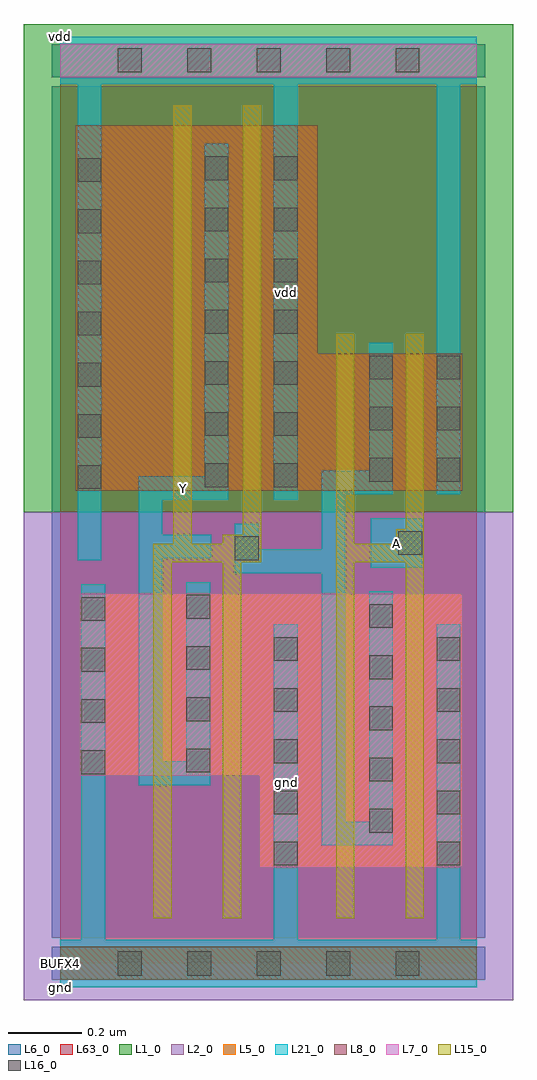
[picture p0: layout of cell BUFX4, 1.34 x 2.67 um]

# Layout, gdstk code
import gdstk
lib = gdstk.Library(unit=1e-6, precision=1e-09)
def R(c, l, rs):  # rectangles x0, y0, x1, y1
    for r in rs: c.add(gdstk.rectangle(r[:2], r[2:], *l))
def A(c, l, x, y, w, h, nx, ny, dx, dy):  # array of equal rectangles
    R(c, l, [(x+i*dx, y+j*dy, x+i*dx+w, y+j*dy+h) for i in range(nx) for j in range(ny)])
def P(c, l, *ps):  # polygons
    for p in ps: c.add(gdstk.Polygon(p, *l))
L1_0 = (1, 0)
L2_0 = (2, 0)
L5_0 = (5, 0)
L6_0 = (6, 0)
L7_0 = (7, 0)
L8_0 = (8, 0)
L15_0 = (15, 0)
L16_0 = (16, 0)
L21_0 = (21, 0)
L63_0 = (63, 0)

bufx4 = lib.new_cell('BUFX4')
R(bufx4, L1_0, [(-0.1,1.235,1.24,2.57)])
R(bufx4, L2_0, [(-0.1,-0.1,1.24,1.235)])
R(bufx4, L5_0, [(0,-0.045,1.14,0.045), (0.755,0.263,0.805,1.012), (0.805,0.263,0.945,1.012), (0.945,0.263,0.995,1.012), (0.995,0.263,1.1,1.012), (0.053,0.513,0.255,1.012), (0.255,0.513,0.305,1.012), (0.305,0.513,0.445,1.012), (0.445,0.513,0.495,1.012), (0.043,1.293,0.31,2.293), (0.31,1.293,0.36,2.293), (0.36,1.293,0.5,2.293), (0.5,1.293,0.55,2.293), (0.755,1.293,0.805,1.668), (0.805,1.293,0.945,1.668), (0.945,1.293,0.995,1.668), (0.995,1.293,1.1,1.668), (0,2.425,1.14,2.515)])
P(bufx4, L5_0, [(0.755,1.012),(0.755,0.263),(0.545,0.263),(0.545,0.513),(0.495,0.513),(0.495,1.012)],
  [(0.705,1.668),(0.755,1.668),(0.755,1.293),(0.55,1.293),(0.55,2.293),(0.705,2.293)])
R(bufx4, L6_0, [(-0.023,-0.045,1.163,0.045), (-0.023,-0.045,1.163,0.045), (-0.023,0.07,1.163,1.235), (-0.023,1.235,1.163,2.4), (-0.023,2.425,1.163,2.515), (-0.023,2.425,1.163,2.515)])
R(bufx4, L7_0, [(0.755,0.263,0.805,1.012), (0.805,0.263,0.945,1.012), (0.945,0.263,0.995,1.012), (0.995,0.263,1.1,1.012), (0.053,0.513,0.255,1.012), (0.255,0.513,0.305,1.012), (0.305,0.513,0.445,1.012), (0.445,0.513,0.495,1.012), (0,2.425,1.14,2.515)])
P(bufx4, L7_0, [(0.755,1.012),(0.755,0.263),(0.545,0.263),(0.545,0.513),(0.495,0.513),(0.495,1.012)])
R(bufx4, L8_0, [(0,-0.045,1.14,0.045), (0.043,1.293,0.31,2.293), (0.31,1.293,0.36,2.293), (0.36,1.293,0.5,2.293), (0.5,1.293,0.55,2.293), (0.755,1.293,0.805,1.668), (0.805,1.293,0.945,1.668), (0.945,1.293,0.995,1.668), (0.995,1.293,1.1,1.668)])
P(bufx4, L8_0, [(0.705,1.668),(0.755,1.668),(0.755,1.293),(0.55,1.293),(0.55,2.293),(0.705,2.293)])
R(bufx4, L15_0, [(0.255,0.123,0.305,0.513), (0.445,0.123,0.495,0.513), (0.755,0.123,0.805,0.263), (0.945,0.123,0.995,0.263), (0.755,0.263,0.805,1.012), (0.945,0.263,0.995,1.012), (0.255,0.513,0.305,1.012), (0.445,0.513,0.495,1.012), (0.31,1.293,0.36,2.293), (0.5,1.293,0.55,2.293), (0.755,1.293,0.805,1.668), (0.945,1.293,0.995,1.668), (0.755,1.668,0.805,1.723), (0.945,1.668,0.995,1.723), (0.31,2.293,0.36,2.348), (0.5,2.293,0.55,2.348)])
P(bufx4, L15_0, [(0.255,1.148),(0.31,1.148),(0.31,1.293),(0.36,1.293),(0.36,1.148),(0.445,1.148),(0.445,1.173),(0.5,1.173),(0.5,1.293),(0.55,1.293),(0.55,1.098),(0.495,1.098),(0.495,1.012),(0.445,1.012),(0.445,1.098),(0.305,1.098),(0.305,1.012),(0.255,1.012)],
  [(0.755,1.293),(0.805,1.293),(0.805,1.148),(0.92,1.148),(0.92,1.188),(0.945,1.188),(0.945,1.293),(0.995,1.293),(0.995,1.012),(0.945,1.012),(0.945,1.098),(0.805,1.098),(0.805,1.012),(0.755,1.012)])
A(bufx4, L16_0, 0.158, -0.033, 0.065, 0.066, 5, 1, 0.19, 0)
A(bufx4, L16_0, 0.585, 0.268, 0.065, 0.065, 1, 5, 0, 0.14)
A(bufx4, L16_0, 1.03, 0.268, 0.065, 0.065, 1, 5, 0, 0.14)
A(bufx4, L16_0, 0.845, 0.358, 0.065, 0.065, 1, 5, 0, 0.14)
A(bufx4, L16_0, 0.058, 0.518, 0.065, 0.065, 1, 3, 0, 0.14)
A(bufx4, L16_0, 0.345, 0.523, 0.065, 0.065, 1, 4, 0, 0.14)
A(bufx4, L16_0, 0.048, 1.298, 0.065, 0.065, 1, 7, 0, 0.14)
A(bufx4, L16_0, 0.395, 1.303, 0.065, 0.065, 1, 7, 0, 0.14)
A(bufx4, L16_0, 0.585, 1.303, 0.065, 0.065, 1, 7, 0, 0.14)
A(bufx4, L16_0, 0.845, 1.318, 0.065, 0.065, 1, 3, 0, 0.14)
A(bufx4, L16_0, 1.03, 1.318, 0.065, 0.065, 1, 3, 0, 0.14)
A(bufx4, L16_0, 0.158, 2.438, 0.065, 0.065, 5, 1, 0.19, 0)
R(bufx4, L16_0, [(0.058,0.938,0.123,1.002), (0.478,1.103,0.543,1.168), (0.925,1.118,0.99,1.183)])
R(bufx4, L21_0, [(0.85,1.083,0.99,1.218)])
P(bufx4, L21_0, [(0,2.405),(0,2.535),(1.14,2.535),(1.14,2.405),(1.095,2.405),(1.095,1.283),(1.03,1.283),(1.03,2.405),(0.65,2.405),(0.65,1.268),(0.585,1.268),(0.585,2.405),(0.113,2.405),(0.113,1.103),(0.048,1.103),(0.048,2.405)],
  [(0.058,0.065),(0.058,1.038),(0.123,1.038),(0.123,0.065),(0.585,0.065),(0.585,0.928),(0.65,0.928),(0.65,0.065),(1.03,0.065),(1.03,0.928),(1.095,0.928),(1.095,0.065),(1.14,0.065),(1.14,-0.065),(0,-0.065),(0,0.065)],
  [(0.543,1.133),(0.715,1.133),(0.715,1.348),(0.845,1.348),(0.845,1.698),(0.91,1.698),(0.91,1.283),(0.78,1.283),(0.78,0.388),(0.845,0.388),(0.845,1.018),(0.91,1.018),(0.91,0.323),(0.715,0.323),(0.715,1.068),(0.478,1.068),(0.478,1.203),(0.543,1.203)],
  [(0.28,1.108),(0.28,0.553),(0.345,0.553),(0.345,1.043),(0.41,1.043),(0.41,0.488),(0.215,0.488),(0.215,1.333),(0.395,1.333),(0.395,2.243),(0.46,2.243),(0.46,1.268),(0.28,1.268),(0.28,1.173),(0.413,1.173),(0.413,1.108)])
R(bufx4, L63_0, [(0,0,1.14,2.47)])
bufx4.add(gdstk.Label('vdd', (0.618,1.836), layer=21, texttype=1))
bufx4.add(gdstk.Label('gnd', (0.618,0.496), layer=21, texttype=1))
bufx4.add(gdstk.Label('Y', (0.338,1.3), layer=21, texttype=1))
bufx4.add(gdstk.Label('A', (0.92,1.15), layer=21, texttype=1))
bufx4.add(gdstk.Label('vdd', (0,2.535), layer=21, texttype=2))
bufx4.add(gdstk.Label('gnd', (0,-0.065), layer=21, texttype=2))
bufx4.add(gdstk.Label('BUFX4', (0,0), layer=63, texttype=1))

lib.write_gds('BUFX4.gds')
